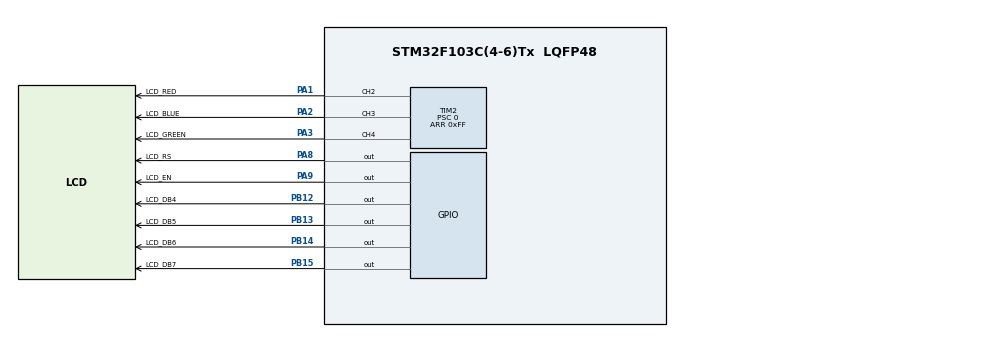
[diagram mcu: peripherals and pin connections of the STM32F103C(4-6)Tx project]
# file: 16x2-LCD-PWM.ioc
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Mcu.Family=STM32F1
Mcu.Name=STM32F103C(4-6)Tx
Mcu.Package=LQFP48
NVIC.PriorityGroup=NVIC_PRIORITYGROUP_4
PA1.GPIO_Label=LCD_RED
PA1.Signal=S_TIM2_CH2
PA2.GPIO_Label=LCD_BLUE
PA2.Signal=S_TIM2_CH3
PA3.GPIO_Label=LCD_GREEN
PA3.Signal=S_TIM2_CH4
PA8.GPIO_Label=LCD_RS
PA8.Signal=GPIO_Output
PA9.GPIO_Label=LCD_EN
PA9.Signal=GPIO_Output
PB12.GPIO_Label=LCD_DB4
PB12.Signal=GPIO_Output
PB13.GPIO_Label=LCD_DB5
PB13.Signal=GPIO_Output
PB14.GPIO_Label=LCD_DB6
PB14.Signal=GPIO_Output
PB15.GPIO_Label=LCD_DB7
PB15.Signal=GPIO_Output
ProjectManager.HeapSize=0x200
ProjectManager.StackSize=0x400
ProjectManager.TargetToolchain=MDK-ARM V5
RCC.APB1Freq_Value=8000000
RCC.APB2Freq_Value=8000000
SH.S_TIM2_CH2.0=TIM2_CH2,PWM Generation2 CH2
SH.S_TIM2_CH3.0=TIM2_CH3,PWM Generation3 CH3
SH.S_TIM2_CH4.0=TIM2_CH4,PWM Generation4 CH4
TIM2.Channel-PWM\ Generation2\ CH2=TIM_CHANNEL_2
TIM2.Channel-PWM\ Generation3\ CH3=TIM_CHANNEL_3
TIM2.Channel-PWM\ Generation4\ CH4=TIM_CHANNEL_4
TIM2.OCPolarity_2=TIM_OCPOLARITY_LOW
TIM2.OCPolarity_3=TIM_OCPOLARITY_LOW
TIM2.OCPolarity_4=TIM_OCPOLARITY_LOW
TIM2.Period=0xFF
TIM2.Prescaler=0
VP_SYS_VS_ND.Mode=No_Debug
board=16x2-LCD-PWM

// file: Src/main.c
/**
  ******************************************************************************
  * File Name          : main.c
  * Description        : Main program body
  ******************************************************************************
  ** This notice applies to any and all portions of this file
  * that are not between comment pairs USER CODE BEGIN and
  * USER CODE END. Other portions of this file, whether
  * inserted by the user or by software development tools
  * are owned by their respective copyright owners.
  *
  * COPYRIGHT(c) 2017 STMicroelectronics
  *
  * Redistribution and use in source and binary forms, with or without modification,
  * are permitted provided that the following conditions are met:
  *   1. Redistributions of source code must retain the above copyright notice,
  *      this list of conditions and the following disclaimer.
  *   2. Redistributions in binary form must reproduce the above copyright notice,
  *      this list of conditions and the following disclaimer in the documentation
  *      and/or other materials provided with the distribution.
  *   3. Neither the name of STMicroelectronics nor the names of its contributors
  *      may be used to endorse or promote products derived from this software
  *      without specific prior written permission.
  *
  * THIS SOFTWARE IS PROVIDED BY THE COPYRIGHT HOLDERS AND CONTRIBUTORS "AS IS"
  * AND ANY EXPRESS OR IMPLIED WARRANTIES, INCLUDING, BUT NOT LIMITED TO, THE
  * IMPLIED WARRANTIES OF MERCHANTABILITY AND FITNESS FOR A PARTICULAR PURPOSE ARE
  * DISCLAIMED. IN NO EVENT SHALL THE COPYRIGHT HOLDER OR CONTRIBUTORS BE LIABLE
  * FOR ANY DIRECT, INDIRECT, INCIDENTAL, SPECIAL, EXEMPLARY, OR CONSEQUENTIAL
  * DAMAGES (INCLUDING, BUT NOT LIMITED TO, PROCUREMENT OF SUBSTITUTE GOODS OR
  * SERVICES; LOSS OF USE, DATA, OR PROFITS; OR BUSINESS INTERRUPTION) HOWEVER
  * CAUSED AND ON ANY THEORY OF LIABILITY, WHETHER IN CONTRACT, STRICT LIABILITY,
  * OR TORT (INCLUDING NEGLIGENCE OR OTHERWISE) ARISING IN ANY WAY OUT OF THE USE
  * OF THIS SOFTWARE, EVEN IF ADVISED OF THE POSSIBILITY OF SUCH DAMAGE.
  *
  ******************************************************************************
  */

#include "main.h"
#include "stm32f1xx_hal.h"
#include "tim.h"
#include "gpio.h"

/* USER CODE BEGIN Includes */
#include "mylcd.h"
/* USER CODE END Includes */

/* USER CODE BEGIN PV */
/* Private variables ---------------------------------------------------------*/

/* USER CODE END PV */

void SystemClock_Config(void);

/* USER CODE BEGIN PFP */
/* Private function prototypes -----------------------------------------------*/

/* USER CODE END PFP */

int main(void)
{

  /* MCU Configuration----------------------------------------------------------*/

  /* Reset of all peripherals, Initializes the Flash interface and the Systick. */
  HAL_Init();

  /* Configure the system clock */
  SystemClock_Config();

  /* Initialize all configured peripherals */
  MX_GPIO_Init();
  MX_TIM2_Init();

  /* USER CODE BEGIN 2 */
  HAL_TIM_PWM_Start(&htim2, TIM_CHANNEL_2);
  HAL_TIM_PWM_Start(&htim2, TIM_CHANNEL_3);
  HAL_TIM_PWM_Start(&htim2, TIM_CHANNEL_4);

  LCD_HandleTypeDef lcd;
  lcd.RS.Port = GPIOA;
  lcd.RS.Pin = GPIO_PIN_8;

  lcd.EN.Port = GPIOA;
  lcd.EN.Pin = GPIO_PIN_9;

  lcd.DB4.Port = GPIOB;
  lcd.DB4.Pin = GPIO_PIN_12;

  lcd.DB5.Port = GPIOB;
  lcd.DB5.Pin = GPIO_PIN_13;

  lcd.DB6.Port = GPIOB;
  lcd.DB6.Pin = GPIO_PIN_14;

  lcd.DB7.Port = GPIOB;
  lcd.DB7.Pin = GPIO_PIN_15;

  HAL_Delay(100);
  LCD_sendCmd(&lcd, 0x33); // Initialize controller
  LCD_sendCmd(&lcd, 0x32); // Set 4-bit mode
  LCD_sendCmd(&lcd, 0x28); // 4 bit, 2 line, 5x7
  LCD_sendCmd(&lcd, 0x06); // Cursor direction -> right
  LCD_sendCmd(&lcd, 0x0C); // Display on, cursor off
  LCD_sendCmd(&lcd, 0x01); // Clear display
  HAL_Delay(100);
  /* USER CODE END 2 */

  /* Infinite loop */
  /* USER CODE BEGIN WHILE */
  int line = 0, position = 0;
  int x;
  while (1)
  {
    LCD_sendCmd(&lcd, 0x01); // Clear display
    LCD_puts(&lcd, "Hello World");

    line = 1, position = 0;
    LCD_sendCmd(&lcd, 0x80 | (line*0x40 + position)); // change cursor
    LCD_puts(&lcd, "Red    ");
    for (x = 0; x < 0xFF; x++) {
      __HAL_TIM_SET_COMPARE(&htim2, TIM_CHANNEL_2, x);
      __HAL_TIM_SET_COMPARE(&htim2, TIM_CHANNEL_3, 0);
      __HAL_TIM_SET_COMPARE(&htim2, TIM_CHANNEL_4, 0);
      HAL_Delay(5);
    }

    line = 1, position = 0;
    LCD_sendCmd(&lcd, 0x80 | (line*0x40 + position)); // change cursor
    LCD_puts(&lcd, "Green    ");
    for (x = 0; x < 0xFF; x++) {
      __HAL_TIM_SET_COMPARE(&htim2, TIM_CHANNEL_2, 0);
      __HAL_TIM_SET_COMPARE(&htim2, TIM_CHANNEL_3, x);
      __HAL_TIM_SET_COMPARE(&htim2, TIM_CHANNEL_4, 0);
      HAL_Delay(5);
    }

    line = 1, position = 0;
    LCD_sendCmd(&lcd, 0x80 | (line*0x40 + position)); // change cursor
    LCD_puts(&lcd, "Blue    ");
    for (x = 0; x < 0xFF; x++) {
      __HAL_TIM_SET_COMPARE(&htim2, TIM_CHANNEL_2, 0);
      __HAL_TIM_SET_COMPARE(&htim2, TIM_CHANNEL_3, 0);
      __HAL_TIM_SET_COMPARE(&htim2, TIM_CHANNEL_4, x);
      HAL_Delay(5);
    }

    LCD_sendCmd(&lcd, 0x80 | (line*0x40 + position)); // change cursor
    LCD_puts(&lcd, "White    ");
    __HAL_TIM_SET_COMPARE(&htim2, TIM_CHANNEL_2, 0xFF);
    __HAL_TIM_SET_COMPARE(&htim2, TIM_CHANNEL_3, 0xFF);
    __HAL_TIM_SET_COMPARE(&htim2, TIM_CHANNEL_4, 0xFF);
    HAL_Delay(1000);

  /* USER CODE END WHILE */

  }

}

/** System Clock Configuration
*/
void SystemClock_Config(void)
{

  RCC_OscInitTypeDef RCC_OscInitStruct;
  RCC_ClkInitTypeDef RCC_ClkInitStruct;

    /**Initializes the CPU, AHB and APB busses clocks
    */
  RCC_OscInitStruct.OscillatorType = RCC_OSCILLATORTYPE_HSI;
  RCC_OscInitStruct.HSIState = RCC_HSI_ON;
  RCC_OscInitStruct.HSICalibrationValue = 16;
  RCC_OscInitStruct.PLL.PLLState = RCC_PLL_NONE;
  if (HAL_RCC_OscConfig(&RCC_OscInitStruct) != HAL_OK)
  {
    _Error_Handler(__FILE__, __LINE__);
  }

    /**Initializes the CPU, AHB and APB busses clocks
    */
  RCC_ClkInitStruct.ClockType = RCC_CLOCKTYPE_HCLK|RCC_CLOCKTYPE_SYSCLK
                              |RCC_CLOCKTYPE_PCLK1|RCC_CLOCKTYPE_PCLK2;
  RCC_ClkInitStruct.SYSCLKSource = RCC_SYSCLKSOURCE_HSI;
  RCC_ClkInitStruct.AHBCLKDivider = RCC_SYSCLK_DIV1;
  RCC_ClkInitStruct.APB1CLKDivider = RCC_HCLK_DIV1;
  RCC_ClkInitStruct.APB2CLKDivider = RCC_HCLK_DIV1;

  if (HAL_RCC_ClockConfig(&RCC_ClkInitStruct, FLASH_LATENCY_0) != HAL_OK)
  {
    _Error_Handler(__FILE__, __LINE__);
  }

    /**Configure the Systick interrupt time
    */
  HAL_SYSTICK_Config(HAL_RCC_GetHCLKFreq()/1000);

    /**Configure the Systick
    */
  HAL_SYSTICK_CLKSourceConfig(SYSTICK_CLKSOURCE_HCLK);

  /* SysTick_IRQn interrupt configuration */
  HAL_NVIC_SetPriority(SysTick_IRQn, 0, 0);
}

void _Error_Handler(char * file, int line)
{
  while(1)
  {
  }
}

/************************ (C) COPYRIGHT STMicroelectronics *****END OF FILE****/
